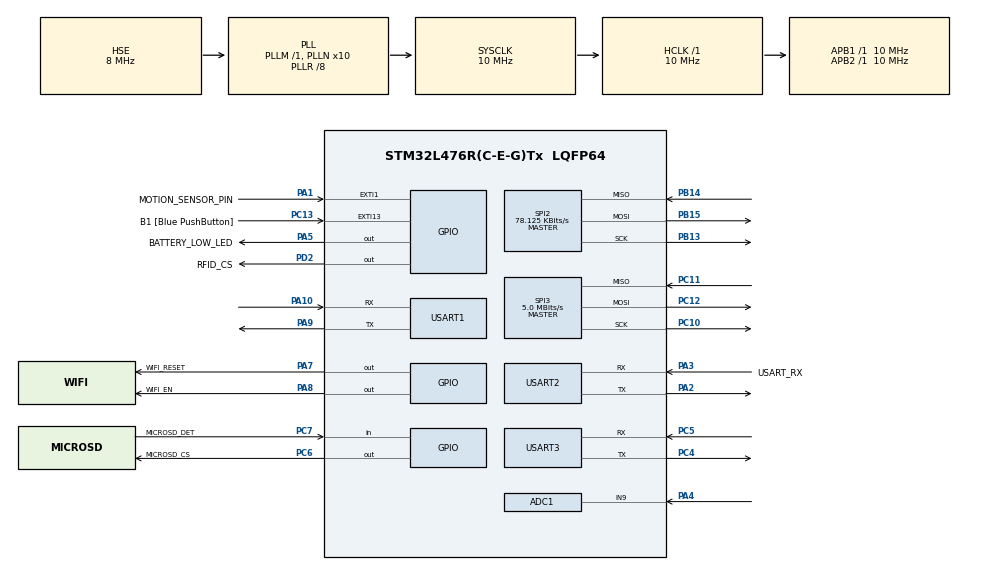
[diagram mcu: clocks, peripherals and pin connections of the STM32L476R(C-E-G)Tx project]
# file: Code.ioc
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ADC1.Channel-0\#ChannelRegularConversion=ADC_CHANNEL_VBAT
ADC1.ClockPrescaler=ADC_CLOCK_ASYNC_DIV1
ADC1.NbrOfConversionFlag=1
ADC1.OffsetNumber-0\#ChannelRegularConversion=ADC_OFFSET_NONE
ADC1.Rank-0\#ChannelRegularConversion=1
ADC1.SamplingTime-0\#ChannelRegularConversion=ADC_SAMPLETIME_2CYCLES_5
ADC1.master=1
LPTIM1.ClockPrescaler=LPTIM_PRESCALER_DIV128
Mcu.Family=STM32L4
Mcu.Name=STM32L476R(C-E-G)Tx
Mcu.Package=LQFP64
NVIC.EXTI15_10_IRQn=true\:0\:0\:false\:false\:true\:true\:true
NVIC.EXTI1_IRQn=true\:1\:0\:true\:false\:true\:true\:true
NVIC.LPTIM1_IRQn=true\:0\:0\:false\:false\:true\:true\:true
NVIC.PriorityGroup=NVIC_PRIORITYGROUP_4
PA0.Mode=SYS_WakeUp0
PA0.Signal=SYS_WKUP1
PA1.GPIO_Label=MOTION_SENSOR_PIN
PA1.GPIO_ModeDefaultEXTI=GPIO_MODE_IT_RISING_FALLING
PA1.Signal=GPXTI1
PA10.Mode=Asynchronous
PA10.Signal=USART1_RX
PA13\ (JTMS-SWDIO).GPIO_Label=TMS
PA13\ (JTMS-SWDIO).Mode=Serial_Wire
PA13\ (JTMS-SWDIO).Signal=SYS_JTMS-SWDIO
PA14\ (JTCK-SWCLK).GPIO_Label=TCK
PA14\ (JTCK-SWCLK).Mode=Serial_Wire
PA14\ (JTCK-SWCLK).Signal=SYS_JTCK-SWCLK
PA2.Mode=Asynchronous
PA2.Signal=USART2_TX
PA3.GPIO_Label=USART_RX
PA3.GPIO_Mode=GPIO_MODE_AF_PP
PA3.GPIO_PuPd=GPIO_NOPULL
PA3.GPIO_Speed=GPIO_SPEED_FREQ_VERY_HIGH
PA3.Mode=Asynchronous
PA3.Signal=USART2_RX
PA4.Signal=SharedAnalog_PA4
PA5.GPIO_Label=BATTERY_LOW_LED
PA5.Signal=GPIO_Output
PA7.GPIO_Label=WIFI_RESET
PA7.Signal=GPIO_Output
PA8.GPIO_Label=WIFI_EN
PA8.Signal=GPIO_Output
PA9.Mode=Asynchronous
PA9.Signal=USART1_TX
PB13.Mode=Full_Duplex_Master
PB13.Signal=SPI2_SCK
PB14.Mode=Full_Duplex_Master
PB14.Signal=SPI2_MISO
PB15.Mode=Full_Duplex_Master
PB15.Signal=SPI2_MOSI
PB3\ (JTDO-TRACESWO).GPIO_Label=SWO
PB3\ (JTDO-TRACESWO).Signal=SYS_JTDO-SWO
PC10.Mode=Full_Duplex_Master
PC10.Signal=SPI3_SCK
PC11.Mode=Full_Duplex_Master
PC11.Signal=SPI3_MISO
PC12.Mode=Full_Duplex_Master
PC12.Signal=SPI3_MOSI
PC13.GPIO_Label=B1 [Blue PushButton]
PC13.GPIO_ModeDefaultEXTI=GPIO_MODE_IT_FALLING
PC13.GPIO_PuPd=GPIO_NOPULL
PC13.Signal=GPXTI13
PC14-OSC32_IN\ (PC14).Signal=RCC_OSC32_IN
PC15-OSC32_OUT\ (PC15).Signal=RCC_OSC32_OUT
PC4.Mode=Asynchronous
PC4.Signal=USART3_TX
PC5.Mode=Asynchronous
PC5.Signal=USART3_RX
PC6.GPIO_Label=MICROSD_CS
PC6.Signal=GPIO_Output
PC7.GPIO_Label=MICROSD_DET
PC7.Signal=GPIO_Input
PD2.GPIO_Label=RFID_CS
PD2.Signal=GPIO_Output
PH0-OSC_IN\ (PH0).Mode=HSE-External-Oscillator
PH0-OSC_IN\ (PH0).Signal=RCC_OSC_IN
PH1-OSC_OUT\ (PH1).Mode=HSE-External-Oscillator
PH1-OSC_OUT\ (PH1).Signal=RCC_OSC_OUT
ProjectManager.HeapSize=0x200
ProjectManager.StackSize=0x400
ProjectManager.TargetToolchain=STM32CubeIDE
RCC.ADCFreq_Value=32000000
RCC.AHBFreq_Value=10000000
RCC.APB1Freq_Value=10000000
RCC.APB1TimFreq_Value=10000000
RCC.APB2Freq_Value=10000000
RCC.APB2TimFreq_Value=10000000
RCC.CortexFreq_Value=10000000
RCC.HCLKFreq_Value=10000000
RCC.HSE_VALUE=8000000
RCC.HSI_VALUE=16000000
RCC.LSE_VALUE=32768
RCC.MSI_VALUE=4000000
RCC.PLLN=10
RCC.PLLR=RCC_PLLR_DIV8
RCC.PLLSourceVirtual=RCC_PLLSOURCE_HSE
RCC.SYSCLKFreq_VALUE=10000000
RCC.SYSCLKSource=RCC_SYSCLKSOURCE_PLLCLK
RCC.USBFreq_Value=32000000
RCC.VCOOutputFreq_Value=80000000
SH.SharedAnalog_PA4.0=GPIO_Analog
SH.SharedAnalog_PA4.1=ADC1_IN9,IN9-Single-Ended
SPI2.BaudRatePrescaler=SPI_BAUDRATEPRESCALER_128
SPI2.CalculateBaudRate=78.125 KBits/s
SPI2.DataSize=SPI_DATASIZE_8BIT
SPI2.Direction=SPI_DIRECTION_2LINES
SPI2.Mode=SPI_MODE_MASTER
SPI2.VirtualType=VM_MASTER
SPI3.CalculateBaudRate=5.0 MBits/s
SPI3.DataSize=SPI_DATASIZE_8BIT
SPI3.Direction=SPI_DIRECTION_2LINES
SPI3.Mode=SPI_MODE_MASTER
SPI3.VirtualType=VM_MASTER
USART1.VirtualMode-Asynchronous=VM_ASYNC
USART2.VirtualMode-Asynchronous=VM_ASYNC
USART3.VirtualMode-Asynchronous=VM_ASYNC
VP_ADC1_Vbat_Input.Mode=IN-Vbat
VP_FATFS_VS_Generic.Mode=User_defined
VP_LPTIM1_VS_LPTIM_counterModeInternalClock.Mode=Counts__internal_clock_event_00
VP_RTC_VS_RTC_Activate.Mode=RTC_Enabled
VP_RTC_VS_RTC_Calendar.Mode=RTC_Calendar
board=NUCLEO-L476RG

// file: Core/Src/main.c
/* USER CODE BEGIN Header */
/**
  ******************************************************************************
  * @file           : main.c
  * @brief          : Main program body
  ******************************************************************************
  * @attention
  *
  * <h2><center>&copy; Copyright (c) 2021 STMicroelectronics.
  * All rights reserved.</center></h2>
  *
  * This software component is licensed by ST under Ultimate Liberty license
  * SLA0044, the "License"; You may not use this file except in compliance with
  * the License. You may obtain a copy of the License at:
  *                             www.st.com/SLA0044
  *
  ******************************************************************************
  */
/* USER CODE END Header */
#include "main.h"
#include "fatfs.h"

/* USER CODE BEGIN Includes */
#include <stdio.h>
#include "sdcard.h"
#include <stdarg.h> //for va_list var arg functions
#include <string.h>
#include "MFRC522.h"
#include "stm32l4xx.h"
/* USER CODE END Includes */

/* USER CODE BEGIN PTD */
union {
	char content[4];
	unsigned int cat_ID;
} RFID_tag;

/* USER CODE END PTD */

/* USER CODE BEGIN PD */
#define TIME_BYTELENGTH 20
#define TIMER_PERIOD 0xFFFF
/* USER CODE END PD */

ADC_HandleTypeDef hadc1;

LPTIM_HandleTypeDef hlptim1;

RTC_HandleTypeDef hrtc;

SPI_HandleTypeDef hspi2;
SPI_HandleTypeDef hspi3;

UART_HandleTypeDef huart1;
UART_HandleTypeDef huart2;
UART_HandleTypeDef huart3;

/* USER CODE BEGIN PV */
unsigned long start_time;
unsigned long end_time;
struct poop_event new_event;
char real_world_time[TIME_BYTELENGTH];
int poop_count = 0;

volatile unsigned int cat_in_flag = 0;
volatile unsigned int wifi_flag = 0;

Uid uid;

char tmp[100];
/* USER CODE END PV */

void SystemClock_Config(void);
static void MX_GPIO_Init(void);
static void MX_RTC_Init(void);
static void MX_SPI2_Init(void);
static void MX_USART2_UART_Init(void);
static void MX_ADC1_Init(void);
static void MX_SPI3_Init(void);
static void MX_USART1_UART_Init(void);
static void MX_LPTIM1_Init(void);
static void MX_USART3_UART_Init(void);
/* USER CODE BEGIN PFP */
void myprintf(const char *fmt, ...);
void SDcard_write_event();
void Wifi_Init();
void Wifi_write_event();
void Wifi_read_time();
void RFID_read();
void Battery_Sensing();

/* USER CODE END PFP */

int main(void)
{

  /* MCU Configuration--------------------------------------------------------*/

  /* Reset of all peripherals, Initializes the Flash interface and the Systick. */
  HAL_Init();

  /* Configure the system clock */
  SystemClock_Config();

  /* Initialize all configured peripherals */
  MX_GPIO_Init();
  MX_RTC_Init();
  MX_SPI2_Init();
  MX_USART2_UART_Init();
  MX_FATFS_Init();
  MX_ADC1_Init();
  MX_SPI3_Init();
  MX_USART1_UART_Init();
  MX_LPTIM1_Init();
  MX_USART3_UART_Init();
  /* USER CODE BEGIN 2 */
  //HAL_LPTIM_Counter_Start_IT(&hlptim1, 10000);
  PCD_Init();
  Wifi_Init();
  poop_count = 0;

  // TODO: get RTC here

  /* USER CODE END 2 */

  /* Infinite loop */
  /* USER CODE BEGIN WHILE */
  while (1)
  {
	  if(cat_in_flag) {//		RFID read function here
		  RFID_read();
	  }

	  if(wifi_flag) {
		  Wifi_write_event();
		  SDcard_write_event();
		  wifi_flag = 0;
	  }

	  if(poop_count >= 3){
		  HAL_GPIO_WritePin(BATTERY_LOW_LED_GPIO_Port, BATTERY_LOW_LED_Pin, SET);
	  }

//	  // enter low power sleep mode
//	  HAL_SuspendTick();
//	  HAL_PWR_EnableSleepOnExit();
//	  HAL_PWR_EnterSLEEPMode(PWR_MAINREGULATOR_ON, PWR_SLEEPENTRY_WFI);
//
//	  // exit the low power mode
//	  HAL_ResumeTick();
    /* USER CODE END WHILE */

  }
}

void SystemClock_Config(void)
{
  RCC_OscInitTypeDef RCC_OscInitStruct = {0};
  RCC_ClkInitTypeDef RCC_ClkInitStruct = {0};

  /** Configure the main internal regulator output voltage
  */
  if (HAL_PWREx_ControlVoltageScaling(PWR_REGULATOR_VOLTAGE_SCALE1) != HAL_OK)
  {
    Error_Handler();
  }
  /** Initializes the RCC Oscillators according to the specified parameters
  * in the RCC_OscInitTypeDef structure.
  */
  RCC_OscInitStruct.OscillatorType = RCC_OSCILLATORTYPE_LSI|RCC_OSCILLATORTYPE_HSE;
  RCC_OscInitStruct.HSEState = RCC_HSE_ON;
  RCC_OscInitStruct.LSIState = RCC_LSI_ON;
  RCC_OscInitStruct.PLL.PLLState = RCC_PLL_ON;
  RCC_OscInitStruct.PLL.PLLSource = RCC_PLLSOURCE_HSE;
  RCC_OscInitStruct.PLL.PLLM = 1;
  RCC_OscInitStruct.PLL.PLLN = 10;
  RCC_OscInitStruct.PLL.PLLP = RCC_PLLP_DIV7;
  RCC_OscInitStruct.PLL.PLLQ = RCC_PLLQ_DIV2;
  RCC_OscInitStruct.PLL.PLLR = RCC_PLLR_DIV8;
  if (HAL_RCC_OscConfig(&RCC_OscInitStruct) != HAL_OK)
  {
    Error_Handler();
  }
  /** Initializes the CPU, AHB and APB buses clocks
  */
  RCC_ClkInitStruct.ClockType = RCC_CLOCKTYPE_HCLK|RCC_CLOCKTYPE_SYSCLK
                              |RCC_CLOCKTYPE_PCLK1|RCC_CLOCKTYPE_PCLK2;
  RCC_ClkInitStruct.SYSCLKSource = RCC_SYSCLKSOURCE_PLLCLK;
  RCC_ClkInitStruct.AHBCLKDivider = RCC_SYSCLK_DIV1;
  RCC_ClkInitStruct.APB1CLKDivider = RCC_HCLK_DIV1;
  RCC_ClkInitStruct.APB2CLKDivider = RCC_HCLK_DIV1;

  if (HAL_RCC_ClockConfig(&RCC_ClkInitStruct, FLASH_LATENCY_0) != HAL_OK)
  {
    Error_Handler();
  }
}

static void MX_ADC1_Init(void)
{

  ADC_MultiModeTypeDef multimode = {0};
  ADC_ChannelConfTypeDef sConfig = {0};

  /** Common config
  */
  hadc1.Instance = ADC1;
  hadc1.Init.ClockPrescaler = ADC_CLOCK_ASYNC_DIV1;
  hadc1.Init.Resolution = ADC_RESOLUTION_12B;
  hadc1.Init.DataAlign = ADC_DATAALIGN_RIGHT;
  hadc1.Init.ScanConvMode = ADC_SCAN_DISABLE;
  hadc1.Init.EOCSelection = ADC_EOC_SINGLE_CONV;
  hadc1.Init.LowPowerAutoWait = DISABLE;
  hadc1.Init.ContinuousConvMode = DISABLE;
  hadc1.Init.NbrOfConversion = 1;
  hadc1.Init.DiscontinuousConvMode = DISABLE;
  hadc1.Init.ExternalTrigConv = ADC_SOFTWARE_START;
  hadc1.Init.ExternalTrigConvEdge = ADC_EXTERNALTRIGCONVEDGE_NONE;
  hadc1.Init.DMAContinuousRequests = DISABLE;
  hadc1.Init.Overrun = ADC_OVR_DATA_PRESERVED;
  hadc1.Init.OversamplingMode = DISABLE;
  if (HAL_ADC_Init(&hadc1) != HAL_OK)
  {
    Error_Handler();
  }
  /** Configure the ADC multi-mode
  */
  multimode.Mode = ADC_MODE_INDEPENDENT;
  if (HAL_ADCEx_MultiModeConfigChannel(&hadc1, &multimode) != HAL_OK)
  {
    Error_Handler();
  }
  /** Configure Regular Channel
  */
  sConfig.Channel = ADC_CHANNEL_VBAT;
  sConfig.Rank = ADC_REGULAR_RANK_1;
  sConfig.SamplingTime = ADC_SAMPLETIME_2CYCLES_5;
  sConfig.SingleDiff = ADC_SINGLE_ENDED;
  sConfig.OffsetNumber = ADC_OFFSET_NONE;
  sConfig.Offset = 0;
  if (HAL_ADC_ConfigChannel(&hadc1, &sConfig) != HAL_OK)
  {
    Error_Handler();
  }

}

static void MX_LPTIM1_Init(void)
{

  hlptim1.Instance = LPTIM1;
  hlptim1.Init.Clock.Source = LPTIM_CLOCKSOURCE_APBCLOCK_LPOSC;
  hlptim1.Init.Clock.Prescaler = LPTIM_PRESCALER_DIV128;
  hlptim1.Init.Trigger.Source = LPTIM_TRIGSOURCE_SOFTWARE;
  hlptim1.Init.OutputPolarity = LPTIM_OUTPUTPOLARITY_HIGH;
  hlptim1.Init.UpdateMode = LPTIM_UPDATE_IMMEDIATE;
  hlptim1.Init.CounterSource = LPTIM_COUNTERSOURCE_INTERNAL;
  hlptim1.Init.Input1Source = LPTIM_INPUT1SOURCE_GPIO;
  hlptim1.Init.Input2Source = LPTIM_INPUT2SOURCE_GPIO;
  if (HAL_LPTIM_Init(&hlptim1) != HAL_OK)
  {
    Error_Handler();
  }

}

static void MX_RTC_Init(void)
{

  RTC_TimeTypeDef sTime = {0};
  RTC_DateTypeDef sDate = {0};

  /** Initialize RTC Only
  */
  hrtc.Instance = RTC;
  hrtc.Init.HourFormat = RTC_HOURFORMAT_24;
  hrtc.Init.AsynchPrediv = 127;
  hrtc.Init.SynchPrediv = 255;
  hrtc.Init.OutPut = RTC_OUTPUT_DISABLE;
  hrtc.Init.OutPutRemap = RTC_OUTPUT_REMAP_NONE;
  hrtc.Init.OutPutPolarity = RTC_OUTPUT_POLARITY_HIGH;
  hrtc.Init.OutPutType = RTC_OUTPUT_TYPE_OPENDRAIN;
  if (HAL_RTC_Init(&hrtc) != HAL_OK)
  {
    Error_Handler();
  }

  /** Initialize RTC and set the Time and Date
  */
  sTime.Hours = 0x0;
  sTime.Minutes = 0x0;
  sTime.Seconds = 0x0;
  sTime.DayLightSaving = RTC_DAYLIGHTSAVING_NONE;
  sTime.StoreOperation = RTC_STOREOPERATION_RESET;
  if (HAL_RTC_SetTime(&hrtc, &sTime, RTC_FORMAT_BCD) != HAL_OK)
  {
    Error_Handler();
  }
  sDate.WeekDay = RTC_WEEKDAY_MONDAY;
  sDate.Month = RTC_MONTH_JANUARY;
  sDate.Date = 0x1;
  sDate.Year = 0x0;

  if (HAL_RTC_SetDate(&hrtc, &sDate, RTC_FORMAT_BCD) != HAL_OK)
  {
    Error_Handler();
  }

}

static void MX_SPI2_Init(void)
{

  /* SPI2 parameter configuration*/
  hspi2.Instance = SPI2;
  hspi2.Init.Mode = SPI_MODE_MASTER;
  hspi2.Init.Direction = SPI_DIRECTION_2LINES;
  hspi2.Init.DataSize = SPI_DATASIZE_8BIT;
  hspi2.Init.CLKPolarity = SPI_POLARITY_LOW;
  hspi2.Init.CLKPhase = SPI_PHASE_1EDGE;
  hspi2.Init.NSS = SPI_NSS_SOFT;
  hspi2.Init.BaudRatePrescaler = SPI_BAUDRATEPRESCALER_128;
  hspi2.Init.FirstBit = SPI_FIRSTBIT_MSB;
  hspi2.Init.TIMode = SPI_TIMODE_DISABLE;
  hspi2.Init.CRCCalculation = SPI_CRCCALCULATION_DISABLE;
  hspi2.Init.CRCPolynomial = 7;
  hspi2.Init.CRCLength = SPI_CRC_LENGTH_DATASIZE;
  hspi2.Init.NSSPMode = SPI_NSS_PULSE_ENABLE;
  if (HAL_SPI_Init(&hspi2) != HAL_OK)
  {
    Error_Handler();
  }

}

static void MX_SPI3_Init(void)
{

  /* SPI3 parameter configuration*/
  hspi3.Instance = SPI3;
  hspi3.Init.Mode = SPI_MODE_MASTER;
  hspi3.Init.Direction = SPI_DIRECTION_2LINES;
  hspi3.Init.DataSize = SPI_DATASIZE_8BIT;
  hspi3.Init.CLKPolarity = SPI_POLARITY_LOW;
  hspi3.Init.CLKPhase = SPI_PHASE_1EDGE;
  hspi3.Init.NSS = SPI_NSS_SOFT;
  hspi3.Init.BaudRatePrescaler = SPI_BAUDRATEPRESCALER_2;
  hspi3.Init.FirstBit = SPI_FIRSTBIT_MSB;
  hspi3.Init.TIMode = SPI_TIMODE_DISABLE;
  hspi3.Init.CRCCalculation = SPI_CRCCALCULATION_DISABLE;
  hspi3.Init.CRCPolynomial = 7;
  hspi3.Init.CRCLength = SPI_CRC_LENGTH_DATASIZE;
  hspi3.Init.NSSPMode = SPI_NSS_PULSE_ENABLE;
  if (HAL_SPI_Init(&hspi3) != HAL_OK)
  {
    Error_Handler();
  }

}

static void MX_USART1_UART_Init(void)
{

  huart1.Instance = USART1;
  huart1.Init.BaudRate = 115200;
  huart1.Init.WordLength = UART_WORDLENGTH_8B;
  huart1.Init.StopBits = UART_STOPBITS_1;
  huart1.Init.Parity = UART_PARITY_NONE;
  huart1.Init.Mode = UART_MODE_TX_RX;
  huart1.Init.HwFlowCtl = UART_HWCONTROL_NONE;
  huart1.Init.OverSampling = UART_OVERSAMPLING_16;
  huart1.Init.OneBitSampling = UART_ONE_BIT_SAMPLE_DISABLE;
  huart1.AdvancedInit.AdvFeatureInit = UART_ADVFEATURE_NO_INIT;
  if (HAL_UART_Init(&huart1) != HAL_OK)
  {
    Error_Handler();
  }

}

static void MX_USART2_UART_Init(void)
{

  huart2.Instance = USART2;
  huart2.Init.BaudRate = 115200;
  huart2.Init.WordLength = UART_WORDLENGTH_8B;
  huart2.Init.StopBits = UART_STOPBITS_1;
  huart2.Init.Parity = UART_PARITY_NONE;
  huart2.Init.Mode = UART_MODE_TX_RX;
  huart2.Init.HwFlowCtl = UART_HWCONTROL_NONE;
  huart2.Init.OverSampling = UART_OVERSAMPLING_16;
  huart2.Init.OneBitSampling = UART_ONE_BIT_SAMPLE_DISABLE;
  huart2.AdvancedInit.AdvFeatureInit = UART_ADVFEATURE_NO_INIT;
  if (HAL_UART_Init(&huart2) != HAL_OK)
  {
    Error_Handler();
  }

}

static void MX_USART3_UART_Init(void)
{

  huart3.Instance = USART3;
  huart3.Init.BaudRate = 115200;
  huart3.Init.WordLength = UART_WORDLENGTH_8B;
  huart3.Init.StopBits = UART_STOPBITS_1;
  huart3.Init.Parity = UART_PARITY_NONE;
  huart3.Init.Mode = UART_MODE_TX_RX;
  huart3.Init.HwFlowCtl = UART_HWCONTROL_NONE;
  huart3.Init.OverSampling = UART_OVERSAMPLING_16;
  huart3.Init.OneBitSampling = UART_ONE_BIT_SAMPLE_DISABLE;
  huart3.AdvancedInit.AdvFeatureInit = UART_ADVFEATURE_NO_INIT;
  if (HAL_UART_Init(&huart3) != HAL_OK)
  {
    Error_Handler();
  }

}

static void MX_GPIO_Init(void)
{
  GPIO_InitTypeDef GPIO_InitStruct = {0};

  /* GPIO Ports Clock Enable */
  __HAL_RCC_GPIOC_CLK_ENABLE();
  __HAL_RCC_GPIOH_CLK_ENABLE();
  __HAL_RCC_GPIOA_CLK_ENABLE();
  __HAL_RCC_GPIOB_CLK_ENABLE();
  __HAL_RCC_GPIOD_CLK_ENABLE();

  /*Configure GPIO pin Output Level */
  HAL_GPIO_WritePin(GPIOA, BATTERY_LOW_LED_Pin|WIFI_RESET_Pin|WIFI_EN_Pin, GPIO_PIN_RESET);

  /*Configure GPIO pin Output Level */
  HAL_GPIO_WritePin(MICROSD_CS_GPIO_Port, MICROSD_CS_Pin, GPIO_PIN_RESET);

  /*Configure GPIO pin Output Level */
  HAL_GPIO_WritePin(RFID_CS_GPIO_Port, RFID_CS_Pin, GPIO_PIN_RESET);

  /*Configure GPIO pin : B1_Pin */
  GPIO_InitStruct.Pin = B1_Pin;
  GPIO_InitStruct.Mode = GPIO_MODE_IT_FALLING;
  GPIO_InitStruct.Pull = GPIO_NOPULL;
  HAL_GPIO_Init(B1_GPIO_Port, &GPIO_InitStruct);

  /*Configure GPIO pin : MOTION_SENSOR_PIN_Pin */
  GPIO_InitStruct.Pin = MOTION_SENSOR_PIN_Pin;
  GPIO_InitStruct.Mode = GPIO_MODE_IT_RISING_FALLING;
  GPIO_InitStruct.Pull = GPIO_NOPULL;
  HAL_GPIO_Init(MOTION_SENSOR_PIN_GPIO_Port, &GPIO_InitStruct);

  /*Configure GPIO pins : BATTERY_LOW_LED_Pin WIFI_RESET_Pin WIFI_EN_Pin */
  GPIO_InitStruct.Pin = BATTERY_LOW_LED_Pin|WIFI_RESET_Pin|WIFI_EN_Pin;
  GPIO_InitStruct.Mode = GPIO_MODE_OUTPUT_PP;
  GPIO_InitStruct.Pull = GPIO_NOPULL;
  GPIO_InitStruct.Speed = GPIO_SPEED_FREQ_LOW;
  HAL_GPIO_Init(GPIOA, &GPIO_InitStruct);

  /*Configure GPIO pin : MICROSD_CS_Pin */
  GPIO_InitStruct.Pin = MICROSD_CS_Pin;
  GPIO_InitStruct.Mode = GPIO_MODE_OUTPUT_PP;
  GPIO_InitStruct.Pull = GPIO_NOPULL;
  GPIO_InitStruct.Speed = GPIO_SPEED_FREQ_LOW;
  HAL_GPIO_Init(MICROSD_CS_GPIO_Port, &GPIO_InitStruct);

  /*Configure GPIO pin : MICROSD_DET_Pin */
  GPIO_InitStruct.Pin = MICROSD_DET_Pin;
  GPIO_InitStruct.Mode = GPIO_MODE_INPUT;
  GPIO_InitStruct.Pull = GPIO_NOPULL;
  HAL_GPIO_Init(MICROSD_DET_GPIO_Port, &GPIO_InitStruct);

  /*Configure GPIO pin : RFID_CS_Pin */
  GPIO_InitStruct.Pin = RFID_CS_Pin;
  GPIO_InitStruct.Mode = GPIO_MODE_OUTPUT_PP;
  GPIO_InitStruct.Pull = GPIO_NOPULL;
  GPIO_InitStruct.Speed = GPIO_SPEED_FREQ_LOW;
  HAL_GPIO_Init(RFID_CS_GPIO_Port, &GPIO_InitStruct);

  /* EXTI interrupt init*/
  HAL_NVIC_SetPriority(EXTI1_IRQn, 1, 0);
  HAL_NVIC_EnableIRQ(EXTI1_IRQn);

  HAL_NVIC_SetPriority(EXTI15_10_IRQn, 0, 0);
  HAL_NVIC_EnableIRQ(EXTI15_10_IRQn);

}

/* USER CODE BEGIN 4 */

void myprintf(const char *fmt, ...) {
	static char buffer[100];
	va_list args;
	va_start(args, fmt);
	vsnprintf(buffer, sizeof(buffer), fmt, args);
	va_end(args);
	int len = strlen(buffer);
	HAL_UART_Transmit(&huart3, (uint8_t*)buffer, len, -1);

//	memcpy(tmp, buffer,100);

}

void HAL_GPIO_EXTI_Callback(uint16_t GPIO_Pin) {
	if(GPIO_Pin == MOTION_SENSOR_PIN_Pin) // Pin enabled in pinout is PC9
	{
//		//TODO: SleepModeExit
//  	HAL_PWR_DisableSleepOnExit();

		if(HAL_GPIO_ReadPin(MOTION_SENSOR_PIN_GPIO_Port, MOTION_SENSOR_PIN_Pin)) { // check whether enter or leave
			/*enter handler*/
			myprintf("Motion Sensor ON!\r\n");
			// TODO: change getTick to getRTC() for more accurate timing
			start_time = HAL_GetTick();
			cat_in_flag = 1;
		  } else {
		  	/*leave handler*/
				myprintf("Motion Sensor OFF! \r\n");
				end_time = HAL_GetTick();
				new_event.cat_id=RFID_tag.cat_ID;
				new_event.duration = end_time - start_time;
				myprintf("ID: %i \r\n", new_event.cat_id);
				myprintf("Duration: %i \r\n", new_event.duration);

//				if(RFID_tag.cat_ID){
//					 Wifi_write_event();
				wifi_flag = 1;

//					SDcard_write_event();
					myprintf("Data Recorded!\n");
//				}
////				else{
//					myprintf("Data NOT Recorded!\n");
//				}
				if(RFID_tag.cat_ID){
					poop_count++;
				}

				RFID_tag.cat_ID = 0;
				cat_in_flag = 0;

		  }
	}
}

void Wifi_Init(){
	HAL_GPIO_WritePin(WIFI_RESET_GPIO_Port, WIFI_RESET_Pin,GPIO_PIN_SET);
	HAL_GPIO_WritePin(WIFI_EN_GPIO_Port, WIFI_EN_Pin,GPIO_PIN_SET);
	HAL_Delay(3000);
	HAL_UART_Transmit(&huart1, (uint8_t*) "network_up\r", strlen("network_up\r"), -1);
	HAL_Delay(3000);
}

void Wifi_write_event(){
	char wifi_buffer[100]="http_get 192.168.131.129:12345/query/id="; //server ip address
	char itoaBuf_wifi[20];

	itoa(new_event.cat_id,itoaBuf_wifi, 10);
	strcat(wifi_buffer,itoaBuf_wifi);
	strcat(wifi_buffer,"&n=");
	itoa(new_event.duration,itoaBuf_wifi, 10);
	strcat(wifi_buffer,itoaBuf_wifi);
	strcat(wifi_buffer,"\r");

	HAL_UART_Transmit(&huart1, (uint8_t*) "stream_close 0\r", strlen("stream_close 0\r"), -1);
	HAL_Delay(500);
	HAL_UART_Transmit(&huart1, (uint8_t*) wifi_buffer, strlen(wifi_buffer),-1);
	HAL_Delay(500);
	HAL_UART_Transmit(&huart1, (uint8_t*) "stream_close 0\r", strlen("stream_close 0\r"), -1);
	HAL_Delay(500);

}

void Wifi_read_time(){
	HAL_UART_Receive(&huart1, (uint8_t*) real_world_time, TIME_BYTELENGTH,-1);

}

void SDcard_write_event(){
	FATFS FatFs; 	//	Fatfs handle
	FRESULT fres; 	//	Result after operations
	FIL fil; 		//	File handle
	UINT bytesWrote;
	char itoaBuf[20];

	fres = f_mount(&FatFs, "", 0); //	1=mount now
	if (fres != FR_OK) {
		myprintf("f_mount error (%i)\r\n", fres);
		return;
	}

	fres = f_open(&fil, "dataloga.txt", FA_WRITE | FA_OPEN_ALWAYS | FA_OPEN_EXISTING|FA_OPEN_APPEND);
	if(fres == FR_OK) {
		myprintf("I was able to open 'datalog.txt' for writing\r\n");
		HAL_GPIO_TogglePin(BATTERY_LOW_LED_GPIO_Port, BATTERY_LOW_LED_Pin);
		HAL_Delay(250);
		HAL_GPIO_TogglePin(BATTERY_LOW_LED_GPIO_Port, BATTERY_LOW_LED_Pin);
		HAL_Delay(250);
		HAL_GPIO_TogglePin(BATTERY_LOW_LED_GPIO_Port, BATTERY_LOW_LED_Pin);
		HAL_Delay(250);
		HAL_GPIO_TogglePin(BATTERY_LOW_LED_GPIO_Port, BATTERY_LOW_LED_Pin);
	} else {
		myprintf("f_open error (%i)\r\n", fres);
	}

	if(new_event.cat_id){
		fres = f_write(&fil, "\r\nID:", strlen("\r\nID:"), &bytesWrote);
		itoa(new_event.cat_id,itoaBuf, 10);
		fres = f_write(&fil, itoaBuf, strlen(itoaBuf), &bytesWrote);
		fres = f_write(&fil, ", Duration:", strlen(", Duration:"), &bytesWrote);
		itoa(new_event.duration,itoaBuf, 10);
		fres = f_write(&fil, itoaBuf, strlen(itoaBuf), &bytesWrote);
	}

	f_close(&fil);

	f_mount(NULL, "", 0);

}

void RFID_read(){
	unsigned int rfid_timeout = 100;

	if ( !PICC_IsNewCardPresent())	{
		return;
	}
	while ( ! PICC_ReadCardSerial(&uid) && rfid_timeout--);

	if (rfid_timeout == 0) {
		myprintf("Tag NOT detected! \r\n");
		return;
	}

	for(int i = 0; i < 4; i++) {
		RFID_tag.content[i] = uid.uidByte[i+1];
	}
	cat_in_flag=0;
	myprintf("Tag DETECTED!\r\n");
	HAL_GPIO_TogglePin(BATTERY_LOW_LED_GPIO_Port, BATTERY_LOW_LED_Pin);
	HAL_Delay(250);
	HAL_GPIO_TogglePin(BATTERY_LOW_LED_GPIO_Port, BATTERY_LOW_LED_Pin);
	HAL_Delay(100);
}

/* USER CODE END 4 */

void Error_Handler(void)
{
  __disable_irq();
  while (1)
  {
  }
}

/************************ (C) COPYRIGHT STMicroelectronics *****END OF FILE****/
